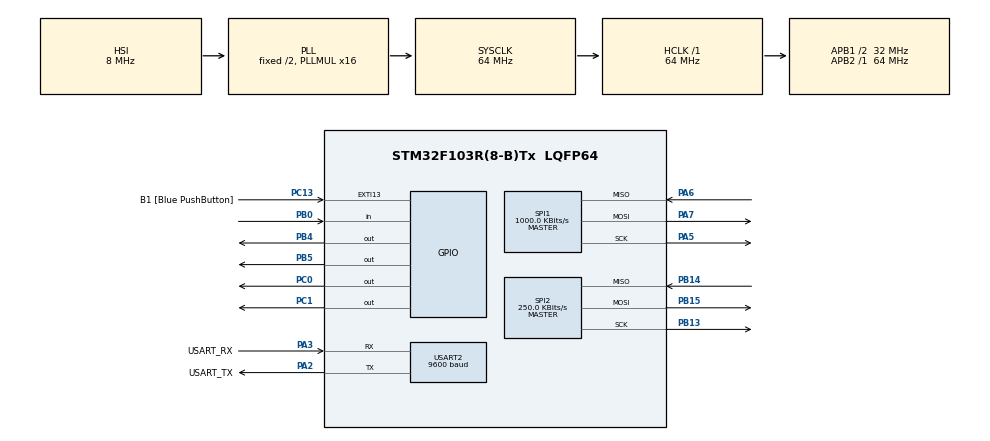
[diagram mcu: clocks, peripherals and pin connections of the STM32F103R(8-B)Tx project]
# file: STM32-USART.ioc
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Mcu.Family=STM32F1
Mcu.Name=STM32F103R(8-B)Tx
Mcu.Package=LQFP64
NVIC.EXTI15_10_IRQn=true\:0\:0\:false\:false\:true\:true\:true
NVIC.PriorityGroup=NVIC_PRIORITYGROUP_4
PA13.GPIO_Label=TMS
PA13.Mode=Serial_Wire
PA13.Signal=SYS_JTMS-SWDIO
PA14.GPIO_Label=TCK
PA14.Mode=Serial_Wire
PA14.Signal=SYS_JTCK-SWCLK
PA2.GPIO_Label=USART_TX
PA2.GPIO_Mode=GPIO_MODE_AF_PP
PA2.GPIO_PuPd=GPIO_NOPULL
PA2.GPIO_Speed=GPIO_SPEED_FREQ_LOW
PA2.Mode=Asynchronous
PA2.Signal=USART2_TX
PA3.GPIO_Label=USART_RX
PA3.GPIO_Mode=GPIO_MODE_AF_PP
PA3.GPIO_PuPd=GPIO_NOPULL
PA3.GPIO_Speed=GPIO_SPEED_FREQ_LOW
PA3.Mode=Asynchronous
PA3.Signal=USART2_RX
PA5.Mode=Full_Duplex_Master
PA5.Signal=SPI1_SCK
PA6.Mode=Full_Duplex_Master
PA6.Signal=SPI1_MISO
PA7.Mode=Full_Duplex_Master
PA7.Signal=SPI1_MOSI
PB0.Signal=GPIO_Input
PB13.Mode=Full_Duplex_Master
PB13.Signal=SPI2_SCK
PB14.Mode=Full_Duplex_Master
PB14.Signal=SPI2_MISO
PB15.Mode=Full_Duplex_Master
PB15.Signal=SPI2_MOSI
PB4.Signal=GPIO_Output
PB5.Signal=GPIO_Output
PC0.Signal=GPIO_Output
PC1.Signal=GPIO_Output
PC13-TAMPER-RTC.GPIO_Label=B1 [Blue PushButton]
PC13-TAMPER-RTC.GPIO_PuPd=GPIO_NOPULL
PC13-TAMPER-RTC.Signal=GPXTI13
PC14-OSC32_IN.Mode=LSE-External-Oscillator
PC14-OSC32_IN.Signal=RCC_OSC32_IN
PC15-OSC32_OUT.Mode=LSE-External-Oscillator
PC15-OSC32_OUT.Signal=RCC_OSC32_OUT
PD0-OSC_IN.Mode=HSE-External-Clock-Source
PD0-OSC_IN.Signal=RCC_OSC_IN
PD1-OSC_OUT.Mode=HSE-External-Clock-Source
PD1-OSC_OUT.Signal=RCC_OSC_OUT
ProjectManager.HeapSize=0x200
ProjectManager.StackSize=0x400
ProjectManager.TargetToolchain=STM32CubeIDE
RCC.AHBFreq_Value=64000000
RCC.APB1CLKDivider=RCC_HCLK_DIV2
RCC.APB1Freq_Value=32000000
RCC.APB1TimFreq_Value=64000000
RCC.APB2Freq_Value=64000000
RCC.APB2TimFreq_Value=64000000
RCC.HCLKFreq_Value=64000000
RCC.PLLMUL=RCC_PLL_MUL16
RCC.RTCClockSelection=RCC_RTCCLKSOURCE_LSE
RCC.SYSCLKFreq_VALUE=64000000
RCC.SYSCLKSource=RCC_SYSCLKSOURCE_PLLCLK
RCC.USBFreq_Value=64000000
SPI1.BaudRatePrescaler=SPI_BAUDRATEPRESCALER_64
SPI1.CalculateBaudRate=1000.0 KBits/s
SPI1.Direction=SPI_DIRECTION_2LINES
SPI1.Mode=SPI_MODE_MASTER
SPI1.VirtualType=VM_MASTER
SPI2.BaudRatePrescaler=SPI_BAUDRATEPRESCALER_128
SPI2.CLKPhase=SPI_PHASE_2EDGE
SPI2.CalculateBaudRate=250.0 KBits/s
SPI2.Direction=SPI_DIRECTION_2LINES
SPI2.Mode=SPI_MODE_MASTER
SPI2.VirtualType=VM_MASTER
USART2.BaudRate=9600
USART2.VirtualMode=VM_ASYNC
board=NUCLEO-F103RB

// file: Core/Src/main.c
/* USER CODE BEGIN Header */
/**
  ******************************************************************************
  * @file           : main.c
  * @brief          : Main program body
  ******************************************************************************
  * @attention
  *
  * <h2><center>&copy; Copyright (c) 2021 STMicroelectronics.
  * All rights reserved.</center></h2>
  *
  * This software component is licensed by ST under BSD 3-Clause license,
  * the "License"; You may not use this file except in compliance with the
  * License. You may obtain a copy of the License at:
  *                        opensource.org/licenses/BSD-3-Clause
  *
  ******************************************************************************
  */
/* USER CODE END Header */
#include "main.h"

/* USER CODE BEGIN Includes */
#include "logger.h"
#include "transmitter.h"
#include "receiver.h"
#include "FreeRTOS.h"
#include "task.h"
#include "nrf24.h"
/* USER CODE END Includes */

SPI_HandleTypeDef hspi1;
SPI_HandleTypeDef hspi2;

UART_HandleTypeDef huart2;

void SystemClock_Config(void);
static void MX_GPIO_Init(void);
static void MX_USART2_UART_Init(void);
static void MX_SPI1_Init(void);
static void MX_SPI2_Init(void);

int main(void)
{
  /* USER CODE BEGIN 1 */
  //TaskHandle_t handle_logger = NULL;
  //TaskHandle_t handle_transmitter = NULL;
  TaskHandle_t handle_receiver = NULL;
  BaseType_t ret;

  /*
  ret = xTaskCreate(logger_task,
                    "logger",
                    STACK_SIZE_APPLICATION,
                    NULL,
                    PRIORITY_APPLICATION,
                    &handle_logger );

  if (ret != pdTRUE)
  {
    while(1);
  }
  */

  /*
  ret = xTaskCreate(transmitter_task,
                      "transmitter",
                      STACK_SIZE_APPLICATION,
                      NULL,
                      PRIORITY_APPLICATION,
                      &handle_transmitter );

  if (ret != pdTRUE)
  {
    while(1);
  }
  */

  ret = xTaskCreate(receiver_task,
                      "receiver",
                      STACK_SIZE_APPLICATION,
                      NULL,
                      PRIORITY_APPLICATION,
                      &handle_receiver );

  if (ret != pdTRUE)
  {
    while(1);
  }

  /* USER CODE END 1 */

  /* MCU Configuration--------------------------------------------------------*/

  /* Reset of all peripherals, Initializes the Flash interface and the Systick. */
  HAL_Init();

  /* Configure the system clock */
  SystemClock_Config();

  /* Initialize all configured peripherals */
  MX_GPIO_Init();
  MX_USART2_UART_Init();
  MX_SPI1_Init();
  MX_SPI2_Init();
  /* USER CODE BEGIN 2 */

	vTaskStartScheduler();
  /* USER CODE END 2 */

  /* Infinite loop */
  while (1)
  {

  }
}

void SystemClock_Config(void)
{
  RCC_OscInitTypeDef RCC_OscInitStruct = {0};
  RCC_ClkInitTypeDef RCC_ClkInitStruct = {0};

  /** Initializes the RCC Oscillators according to the specified parameters
  * in the RCC_OscInitTypeDef structure.
  */
  RCC_OscInitStruct.OscillatorType = RCC_OSCILLATORTYPE_HSI;
  RCC_OscInitStruct.HSIState = RCC_HSI_ON;
  RCC_OscInitStruct.HSICalibrationValue = RCC_HSICALIBRATION_DEFAULT;
  RCC_OscInitStruct.PLL.PLLState = RCC_PLL_ON;
  RCC_OscInitStruct.PLL.PLLSource = RCC_PLLSOURCE_HSI_DIV2;
  RCC_OscInitStruct.PLL.PLLMUL = RCC_PLL_MUL16;
  if (HAL_RCC_OscConfig(&RCC_OscInitStruct) != HAL_OK)
  {
    Error_Handler();
  }
  /** Initializes the CPU, AHB and APB buses clocks
  */
  RCC_ClkInitStruct.ClockType = RCC_CLOCKTYPE_HCLK|RCC_CLOCKTYPE_SYSCLK
                              |RCC_CLOCKTYPE_PCLK1|RCC_CLOCKTYPE_PCLK2;
  RCC_ClkInitStruct.SYSCLKSource = RCC_SYSCLKSOURCE_PLLCLK;
  RCC_ClkInitStruct.AHBCLKDivider = RCC_SYSCLK_DIV1;
  RCC_ClkInitStruct.APB1CLKDivider = RCC_HCLK_DIV2;
  RCC_ClkInitStruct.APB2CLKDivider = RCC_HCLK_DIV1;

  if (HAL_RCC_ClockConfig(&RCC_ClkInitStruct, FLASH_LATENCY_2) != HAL_OK)
  {
    Error_Handler();
  }
}

static void MX_SPI1_Init(void)
{

  /* SPI1 parameter configuration*/
  hspi1.Instance = SPI1;
  hspi1.Init.Mode = SPI_MODE_MASTER;
  hspi1.Init.Direction = SPI_DIRECTION_2LINES;
  hspi1.Init.DataSize = SPI_DATASIZE_8BIT;
  hspi1.Init.CLKPolarity = SPI_POLARITY_LOW;
  hspi1.Init.CLKPhase = SPI_PHASE_1EDGE;
  hspi1.Init.NSS = SPI_NSS_SOFT;
  hspi1.Init.BaudRatePrescaler = SPI_BAUDRATEPRESCALER_64;
  hspi1.Init.FirstBit = SPI_FIRSTBIT_MSB;
  hspi1.Init.TIMode = SPI_TIMODE_DISABLE;
  hspi1.Init.CRCCalculation = SPI_CRCCALCULATION_DISABLE;
  hspi1.Init.CRCPolynomial = 10;
  if (HAL_SPI_Init(&hspi1) != HAL_OK)
  {
    Error_Handler();
  }

}

static void MX_SPI2_Init(void)
{

  /* SPI2 parameter configuration*/
  hspi2.Instance = SPI2;
  hspi2.Init.Mode = SPI_MODE_MASTER;
  hspi2.Init.Direction = SPI_DIRECTION_2LINES;
  hspi2.Init.DataSize = SPI_DATASIZE_8BIT;
  hspi2.Init.CLKPolarity = SPI_POLARITY_LOW;
  hspi2.Init.CLKPhase = SPI_PHASE_2EDGE;
  hspi2.Init.NSS = SPI_NSS_SOFT;
  hspi2.Init.BaudRatePrescaler = SPI_BAUDRATEPRESCALER_128;
  hspi2.Init.FirstBit = SPI_FIRSTBIT_MSB;
  hspi2.Init.TIMode = SPI_TIMODE_DISABLE;
  hspi2.Init.CRCCalculation = SPI_CRCCALCULATION_DISABLE;
  hspi2.Init.CRCPolynomial = 10;
  if (HAL_SPI_Init(&hspi2) != HAL_OK)
  {
    Error_Handler();
  }

}

static void MX_USART2_UART_Init(void)
{

  huart2.Instance = USART2;
  huart2.Init.BaudRate = 9600;
  huart2.Init.WordLength = UART_WORDLENGTH_8B;
  huart2.Init.StopBits = UART_STOPBITS_1;
  huart2.Init.Parity = UART_PARITY_NONE;
  huart2.Init.Mode = UART_MODE_TX_RX;
  huart2.Init.HwFlowCtl = UART_HWCONTROL_NONE;
  huart2.Init.OverSampling = UART_OVERSAMPLING_16;
  if (HAL_UART_Init(&huart2) != HAL_OK)
  {
    Error_Handler();
  }

}

static void MX_GPIO_Init(void)
{
  GPIO_InitTypeDef GPIO_InitStruct = {0};

  /* GPIO Ports Clock Enable */
  __HAL_RCC_GPIOC_CLK_ENABLE();
  __HAL_RCC_GPIOD_CLK_ENABLE();
  __HAL_RCC_GPIOA_CLK_ENABLE();
  __HAL_RCC_GPIOB_CLK_ENABLE();

  /*Configure GPIO pin Output Level */
  HAL_GPIO_WritePin(GPIOC, GPIO_PIN_0|GPIO_PIN_1, GPIO_PIN_RESET);

  /*Configure GPIO pin Output Level */
  HAL_GPIO_WritePin(GPIOB, GPIO_PIN_4|GPIO_PIN_5, GPIO_PIN_RESET);

  /*Configure GPIO pin : B1_Pin */
  GPIO_InitStruct.Pin = B1_Pin;
  GPIO_InitStruct.Mode = GPIO_MODE_IT_RISING;
  GPIO_InitStruct.Pull = GPIO_NOPULL;
  HAL_GPIO_Init(B1_GPIO_Port, &GPIO_InitStruct);

  /*Configure GPIO pins : PC0 PC1 */
  GPIO_InitStruct.Pin = GPIO_PIN_0|GPIO_PIN_1;
  GPIO_InitStruct.Mode = GPIO_MODE_OUTPUT_PP;
  GPIO_InitStruct.Pull = GPIO_NOPULL;
  GPIO_InitStruct.Speed = GPIO_SPEED_FREQ_LOW;
  HAL_GPIO_Init(GPIOC, &GPIO_InitStruct);

  /*Configure GPIO pin : PB0 */
  GPIO_InitStruct.Pin = GPIO_PIN_0;
  GPIO_InitStruct.Mode = GPIO_MODE_INPUT;
  GPIO_InitStruct.Pull = GPIO_NOPULL;
  HAL_GPIO_Init(GPIOB, &GPIO_InitStruct);

  /*Configure GPIO pins : PB4 PB5 */
  GPIO_InitStruct.Pin = GPIO_PIN_4|GPIO_PIN_5;
  GPIO_InitStruct.Mode = GPIO_MODE_OUTPUT_PP;
  GPIO_InitStruct.Pull = GPIO_NOPULL;
  GPIO_InitStruct.Speed = GPIO_SPEED_FREQ_LOW;
  HAL_GPIO_Init(GPIOB, &GPIO_InitStruct);

  /* EXTI interrupt init*/
  HAL_NVIC_SetPriority(EXTI15_10_IRQn, 0, 0);
  HAL_NVIC_EnableIRQ(EXTI15_10_IRQn);

}

void Error_Handler(void)
{
}

/************************ (C) COPYRIGHT STMicroelectronics *****END OF FILE****/
